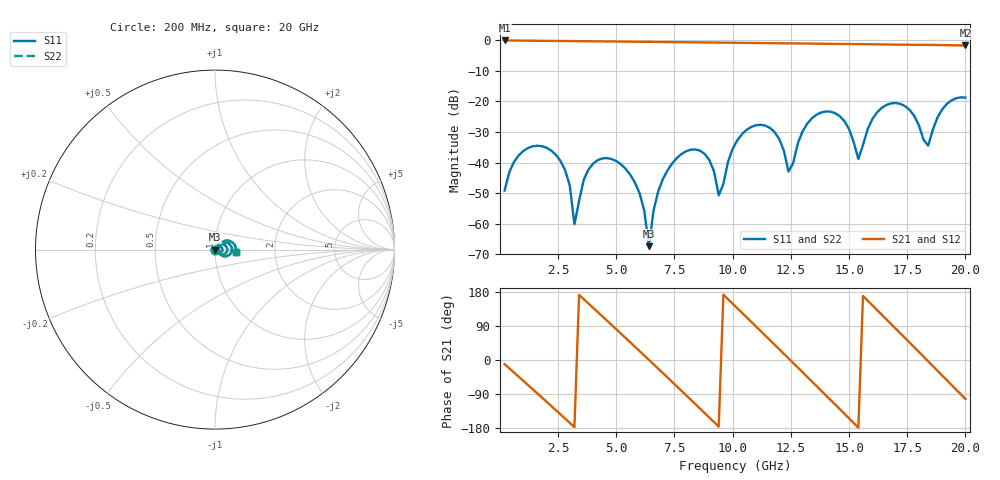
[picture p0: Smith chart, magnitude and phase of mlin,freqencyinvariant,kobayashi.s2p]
! Created Wed May 11 08:01:02 2022
# hz S ma R 50
! 2 Port Network Data from SP1.SP block
! freq  magS11  angS11  magS21  angS21  magS12  angS12  magS22  angS22
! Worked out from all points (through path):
!   100 points, 200 MHz to 20 GHz, reference 50 ohm
!   highest |S21| = -0.02 dB at 200 MHz (marker M1); lowest = -1.7 dB at 20 GHz (marker M2)
!   group delay of S21, straight-line fit = 165 ps
!   lowest |S11| = -67.4 dB at 6.4 GHz (marker M3), VSWR 1.00, Z = 50 + j0.0413 ohm
!   |S11| at or under -10 dB: start of sweep to end of sweep
!   |S22| runs from -67.4 to -18.6 dB; largest |S21 - S12| = 0
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2e8  0.003475 -121.7  0.998 -10.9  0.998 -10.9  0.003475 -121.7
1.8e9  0.0185 147.6  0.9846 -98.9  0.9846 -98.9  0.0185 147.6
2.8e9  0.007499 92.5  0.9765 -154.6  0.9765 -154.6  0.007499 92.5
3.2e9  0.0009764 93.2  0.9732 -177.0  0.9732 -177.0  0.0009764 93.2
3.6e9  0.005203 -143.8  0.9699 160.5  0.9699 160.5  0.005203 -143.8
5.4e9  0.007872 94.2  0.955 58.1  0.955 58.1  0.007872 94.2
6e9  0.003134 41.8  0.9499 23.5  0.9499 23.5  0.003134 41.8
6.4e9  0.0004266 75.6  0.9466 0.4  0.9466 0.4  0.0004266 75.6
6.8e9  0.003374 121.9  0.9432 -22.9  0.9432 -22.9  0.003374 121.9
8.2e9  0.01622 13.3  0.9313 -104.8  0.9313 -104.8  0.01622 13.3
9.4e9  0.002907 -21.0  0.9212 -175.8  0.9212 -175.8  0.002907 -21.0
1.02e10  0.02317 54.2  0.9143 136.5  0.9143 136.5  0.02317 54.2
1.1e10  0.0408 9.4  0.9068 88.6  0.9068 88.6  0.0408 9.4
1.2e10  0.02431 -41.8  0.8986 28.4  0.8986 28.4  0.02431 -41.8
1.24e10  0.007119 -21.8  0.8955 4.2  0.8955 4.2  0.007119 -21.8
1.34e10  0.0528 35.8  0.886 -56.5  0.886 -56.5  0.0528 35.8
1.42e10  0.06808 -7.1  0.8781 -105.1  0.8781 -105.1  0.06808 -7.1
1.52e10  0.02163 -41.7  0.8714 -166.3  0.8714 -166.3  0.02163 -41.7
1.54e10  0.01143 -3.7  0.8699 -178.6  0.8699 -178.6  0.01143 -3.7
1.68e10  0.09297 9.0  0.8544 95.3  0.8544 95.3  0.09297 9.0
1.84e10  0.01888 20.2  0.8444 -3.4  0.8444 -3.4  0.01888 20.2
2e10  0.1156 -6.8  0.8254 -102.6  0.8254 -102.6  0.1156 -6.8
